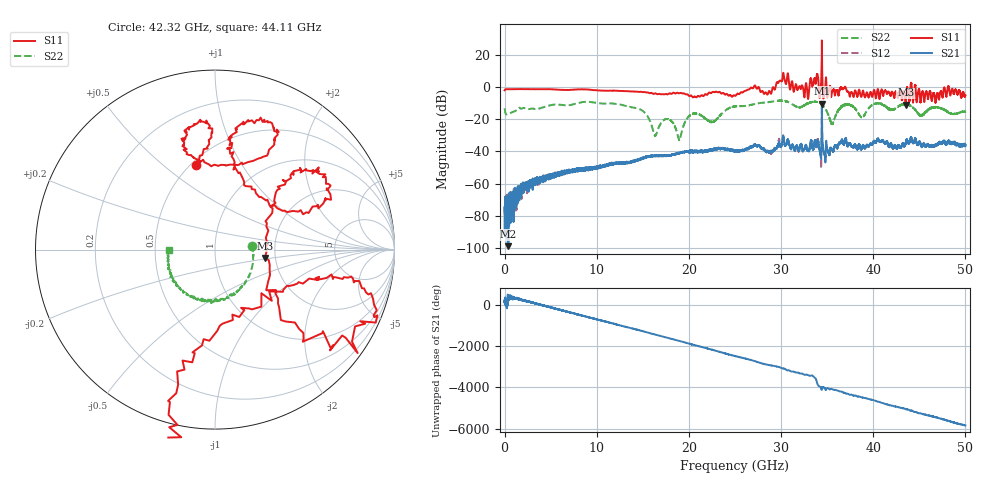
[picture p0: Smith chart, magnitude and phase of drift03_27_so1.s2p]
!Created with skrf (http://scikit-rf.org).
# Hz S RI R 50.0
!freq ReS11 ImS11 ReS21 ImS21 ReS12 ImS12 ReS22 ImS22
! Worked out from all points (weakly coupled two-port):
!   10000 points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, 5.3 MHz to 50 GHz, reference 50 ohm
!   highest |S21| = -10.32 dB at 34.43 GHz (marker M1); lowest = -98.9 dB at 410.3 MHz (marker M2)
!   lowest |S11| = -11.0 dB at 43.53 GHz (marker M3), VSWR 1.78, Z = 87.8 - j8.9 ohm
!   |S11| at or under -10 dB: 43.49379 GHz to 43.53965 GHz (45.85 MHz wide, 0.105 % of centre)
!   |S22| runs from -33.0 to -8.4 dB; largest |S21 - S12| = 0.11
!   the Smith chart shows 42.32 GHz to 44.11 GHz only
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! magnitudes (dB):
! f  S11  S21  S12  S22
! 5.3 MHz  -2.1  -76.6  -74.5  -13.3
! 410.3 MHz  -1.4  -98.9  -79.2  -16.7
! 3.07 GHz  -1.4  -58.1  -58.0  -13.4
! 8.34 GHz  -1.5  -50.8  -51.6  -9.5
! 14.54 GHz  -3.1  -45.1  -45.6  -13.5
! 16.67 GHz  -4.4  -42.6  -42.8  -26.0
! 17.8 GHz  -4.2  -42.5  -42.4  -20.1
! 18.98 GHz  -3.9  -41.1  -41.2  -32.8
! 20.28 GHz  -5.5  -39.5  -39.9  -17.0
! 22.58 GHz  -3.1  -39.5  -38.9  -21.7
! 25.01 GHz  -5.5  -39.5  -40.0  -12.2
! 28.72 GHz  -2.5  -40.6  -40.3  -9.4
! 30.14 GHz  4.4  -33.6  -33.9  -8.6
! 32.74 GHz  2.0  -36.8  -36.6  -10.6
! 33.34 GHz  2.5  -35.1  -35.1  -9.4
! 34.43 GHz  28.9  -10.3  -12.7  -10.9
! 35.53 GHz  -3.3  -39.0  -38.8  -22.9
! 36.96 GHz  0.1  -33.0  -33.2  -10.9
! 38.76 GHz  -5.5  -38.3  -38.0  -19.0
! 41.67 GHz  -3.1  -36.7  -36.9  -13.1
! 43.53 GHz  -11.0  -34.6  -35.0  -10.6
! 50 GHz  -5.3  -35.9  -36.4  -15.4
